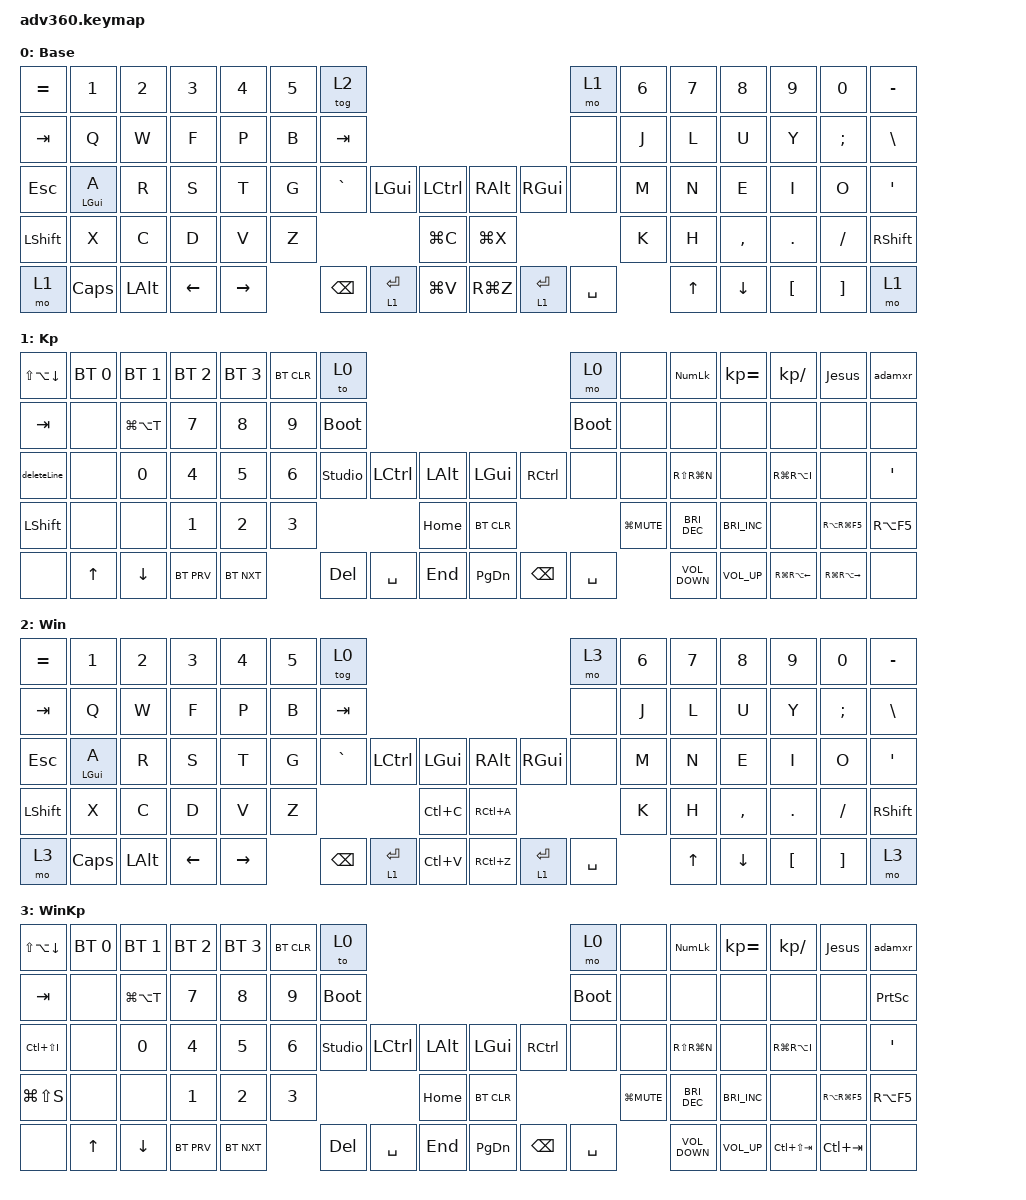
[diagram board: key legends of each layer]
#include <dt-bindings/zmk/stp.h>
#include <behaviors.dtsi>
#include <dt-bindings/zmk/bt.h>
#include <dt-bindings/zmk/keys.h>

/ {
    behaviors {
        #include "macros.dtsi"
      #include "version.dtsi"

        hm: homerow_mods {
            compatible = "zmk,behavior-hold-tap";
            label = "HOMEROW_MODS";
            #binding-cells = <2>;
            tapping-term-ms = <200>;
            quick_tap_ms = <175>;
            flavor = "tap-preferred";
            bindings = <&kp>, <&kp>;
        };
    };

    macros {
        Jesus: Jesus {
            compatible = "zmk,behavior-macro";
            #binding-cells = <0>;
            bindings = <&kp LS(J) &kp E &kp S &kp U &kp S>;
            label = "JESUS";
        };

        deleteLine: deleteLine {
            compatible = "zmk,behavior-macro";
            #binding-cells = <0>;
            bindings = <&kp RG(RIGHT_ARROW) &kp RS(RG(LEFT_ARROW)) &kp BACKSPACE>;
            label = "DELETELINE";
        };

        formatSelection: formatSelection {
            compatible = "zmk,behavior-macro";
            #binding-cells = <0>;
            bindings = <&kp RG(K) &kp RG(F)>;
            label = "FORMATSELECTION";
        };

        adamxr: adamxr {
            compatible = "zmk,behavior-macro";
            #binding-cells = <0>;
            bindings = <&none &kp A &kp D &kp A &kp M &kp X &kp R &kp O &kp D &kp R &kp I &kp G &kp U &kp E &kp Z &kp AT &kp G &kp M &kp A &kp I &kp L &kp DOT &kp C &kp O &kp M>;
            label = "ADAMXR";
        };
    };

    keymap {
        compatible = "zmk,keymap";

        default_layer {
            display-name = "Base";
            bindings = <
&kp EQUAL  &kp N1        &kp N2    &kp N3    &kp N4     &kp N5  &tog 2                                                     &mo 1      &kp N6  &kp N7  &kp N8     &kp N9    &kp N0         &kp MINUS
&kp TAB    &kp Q         &kp W     &kp F     &kp P      &kp B   &kp TAB                                                    &none      &kp J   &kp L   &kp U      &kp Y     &kp SEMICOLON  &kp BSLH
&kp ESC    &hm LGUI A    &kp R     &kp S     &kp T      &kp G   &kp GRAVE  &kp LGUI   &kp LCTRL      &kp RALT   &kp RGUI   &none      &kp M   &kp N   &kp E      &kp I     &kp O          &kp SQT
&kp LSHFT  &kp X         &kp C     &kp D     &kp V      &kp Z                         &kp LG(C)      &kp LG(X)                        &kp K   &kp H   &kp COMMA  &kp DOT   &kp FSLH       &kp RSHFT
&mo 1      &kp CAPSLOCK  &kp LALT  &kp LEFT  &kp RIGHT          &kp BSPC   &lt 1 RET  &kp LG(V)      &kp RG(Z)  &lt 1 RET  &kp SPACE          &kp UP  &kp DOWN   &kp LBKT  &kp RBKT       &mo 1
            >;
        };

        keypad {
            display-name = "Kp";
            bindings = <
&kp LS(LA(DOWN_ARROW))  &bt BT_SEL 0  &bt BT_SEL 1    &bt BT_SEL 2  &bt BT_SEL 3  &bt BT_CLR    &to 0                                                               &mo 0        &none           &kp KP_NUM            &kp KP_EQUAL          &kp KP_DIVIDE           &Jesus                   &adamxr
&kp TAB                 &none         &kp LG(LA(T))   &kp NUMBER_7  &kp NUMBER_8  &kp NUMBER_9  &bootloader                                                         &bootloader  &none           &none                 &none                 &none                   &none                    &none
&deleteLine             &none         &kp NUMBER_0    &kp NUMBER_4  &kp NUMBER_5  &kp NUMBER_6  &studio_unlock  &kp LCTRL  &kp LALT      &kp LGUI    &kp RCTRL      &none        &none           &kp RS(RG(N))         &none                 &kp RG(RA(I))           &none                    &kp SQT
&kp LSHFT               &none         &none           &kp NUMBER_1  &kp NUMBER_2  &kp NUMBER_3                             &kp HOME      &bt BT_CLR                              &kp LG(C_MUTE)  &kp C_BRIGHTNESS_DEC  &kp C_BRIGHTNESS_INC  &none                   &kp RA(RG(F5))           &kp RA(F5)
&none                   &kp UP_ARROW  &kp DOWN_ARROW  &bt BT_PRV    &bt BT_NXT                  &kp DELETE      &kp SPACE  &kp END       &kp PG_DN   &kp BACKSPACE  &kp SPACE                    &kp C_VOLUME_DOWN     &kp C_VOLUME_UP       &kp RG(RA(LEFT_ARROW))  &kp RG(RA(RIGHT_ARROW))  &none
            >;
        };

        windows {
            display-name = "Win";
            bindings = <
&kp EQUAL  &kp N1        &kp N2    &kp N3    &kp N4     &kp N5  &tog 0                                                     &mo 3      &kp N6  &kp N7  &kp N8     &kp N9    &kp N0         &kp MINUS
&kp TAB    &kp Q         &kp W     &kp F     &kp P      &kp B   &kp TAB                                                    &none      &kp J   &kp L   &kp U      &kp Y     &kp SEMICOLON  &kp BSLH
&kp ESC    &hm LGUI A    &kp R     &kp S     &kp T      &kp G   &kp GRAVE  &kp LCTRL   &kp LGUI      &kp RALT   &kp RGUI   &none      &kp M   &kp N   &kp E      &kp I     &kp O          &kp SQT
&kp LSHFT  &kp X         &kp C     &kp D     &kp V      &kp Z                         &kp LC(C)      &kp RC(A)                        &kp K   &kp H   &kp COMMA  &kp DOT   &kp FSLH       &kp RSHFT
&mo 3      &kp CAPSLOCK  &kp LALT  &kp LEFT  &kp RIGHT          &kp BSPC   &lt 1 RET  &kp LC(V)      &kp RC(Z)  &lt 1 RET  &kp SPACE          &kp UP  &kp DOWN   &kp LBKT  &kp RBKT       &mo 3
            >;
        };

        Winkeypad {
            display-name = "WinKp";
            bindings = <
&kp LS(LA(DOWN_ARROW))  &bt BT_SEL 0  &bt BT_SEL 1    &bt BT_SEL 2  &bt BT_SEL 3  &bt BT_CLR    &to 0                                                               &mo 0        &none           &kp KP_NUM            &kp KP_EQUAL          &kp KP_DIVIDE           &Jesus                   &adamxr
&kp TAB                 &none         &kp LG(LA(T))   &kp NUMBER_7  &kp NUMBER_8  &kp NUMBER_9  &bootloader                                                         &bootloader  &none           &none                 &none                 &none                   &none                    &kp PSCRN
&kp LC(LS(I))           &none         &kp NUMBER_0    &kp NUMBER_4  &kp NUMBER_5  &kp NUMBER_6  &studio_unlock  &kp LCTRL  &kp LALT      &kp LGUI    &kp RCTRL      &none        &none           &kp RS(RG(N))         &none                 &kp RG(RA(I))           &none                    &kp SQT
&kp LG(LS(S))           &none         &none           &kp NUMBER_1  &kp NUMBER_2  &kp NUMBER_3                             &kp HOME      &bt BT_CLR                              &kp LG(C_MUTE)  &kp C_BRIGHTNESS_DEC  &kp C_BRIGHTNESS_INC  &none                   &kp RA(RG(F5))           &kp RA(F5)
&none                   &kp UP_ARROW  &kp DOWN_ARROW  &bt BT_PRV    &bt BT_NXT                  &kp DELETE      &kp SPACE  &kp END       &kp PG_DN   &kp BACKSPACE  &kp SPACE                    &kp C_VOLUME_DOWN     &kp C_VOLUME_UP       &kp LC(LS(TAB))  &kp LC(TAB)  &none
            >;
        };
    };
};
